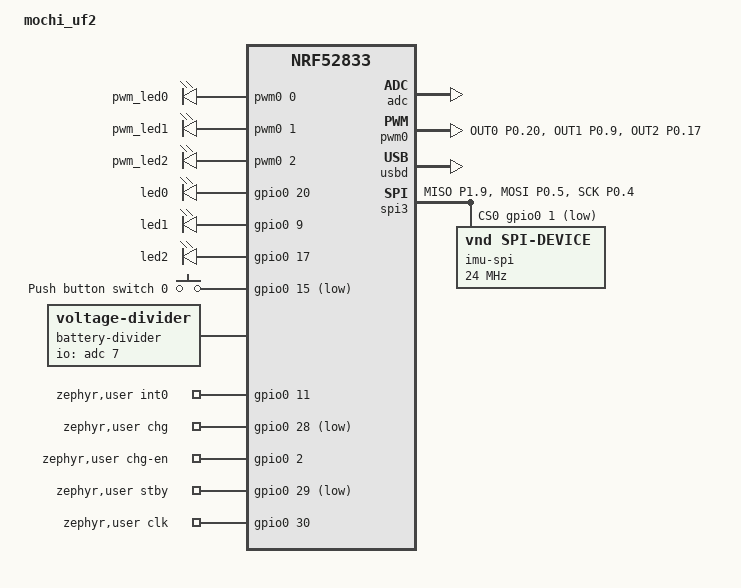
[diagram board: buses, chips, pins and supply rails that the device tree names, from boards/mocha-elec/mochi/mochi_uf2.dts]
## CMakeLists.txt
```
#
# Copyright (c) 2023 Nordic Semiconductor
#
# SPDX-License-Identifier: LicenseRef-Nordic-5-Clause
#
cmake_minimum_required(VERSION 3.20.0)

# Configure VERSION from repository branch and tag
find_package(Git)

if(GIT_EXECUTABLE)
  execute_process(
    COMMAND ${GIT_EXECUTABLE} branch --show-current
    WORKING_DIRECTORY ${CMAKE_SOURCE_DIR}
    OUTPUT_VARIABLE GIT_BRANCH
    )
  execute_process(
    COMMAND ${GIT_EXECUTABLE} describe --dirty --tags --long --match [0-9]*.[0-9]*.[0-9]*
    WORKING_DIRECTORY ${CMAKE_SOURCE_DIR}
    OUTPUT_VARIABLE GIT_VERSION
    )
endif()

if(GIT_BRANCH STREQUAL "")
  set(GIT_BRANCH unknown)
  message(WARNING "Unknown Git Branch")
endif()

if(GIT_VERSION STREQUAL "")
  set(GIT_VERSION 0.0.0-0)
  message(WARNING "Unknown Tag/Version")
endif()

string(STRIP ${GIT_BRANCH} GIT_BRANCH)
string(STRIP ${GIT_VERSION} GIT_VERSION)
string(REPLACE "-" ";" GIT_VERSION ${GIT_VERSION})
list(GET GIT_VERSION 0 GIT_RELEASE)
list(GET GIT_VERSION 1 GIT_TWEAK)
string(REPLACE "v" "" GIT_RELEASE ${GIT_RELEASE})
string(REPLACE "." ";" GIT_RELEASE ${GIT_RELEASE})
list(GET GIT_RELEASE 0 GIT_MAJOR)
list(GET GIT_RELEASE 1 GIT_MINOR)
list(GET GIT_RELEASE 2 GIT_PATCH)

configure_file(${CMAKE_SOURCE_DIR}/VERSION_SRC ${CMAKE_SOURCE_DIR}/VERSION @ONLY)

# Zephyr
find_package(Zephyr REQUIRED HINTS $ENV{ZEPHYR_BASE})
project(NONE)

# NORDIC SDK APP START
FILE(GLOB_RECURSE app_sources src/*.c)
target_sources(app PRIVATE ${app_sources})

# NORDIC SDK APP END

FILE(GLOB_RECURSE files vqf-c/src/*.c)
target_sources(app PRIVATE ${files})

target_include_directories(app PRIVATE src)
target_include_directories(app PRIVATE vqf-c/src)

# Force recompile for updated build timestamp
add_custom_target(touch_util_h ALL
    COMMAND ${CMAKE_COMMAND} -E touch ${CMAKE_SOURCE_DIR}/src/build_defines.h
)
```

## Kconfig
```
#
# Copyright (c) 2023 Nordic Semiconductor
#
# SPDX-License-Identifier: LicenseRef-Nordic-5-Clause
#

config USE_SLIMENRF_CONSOLE
    bool "Use basic console"
    default y
    help
        Use basic console for commands.

config BATTERY_CHARGER_HAS_NTC
    bool "Battery thermistor"
    help
      Flag for battery NTC thermistor availability.

choice
    prompt "Battery voltage mapping"
    default BATTERY_NO_MAPPING

config BATTERY_USE_REG_BUCK_MAPPING
    bool "Use buck regulator mapping (3.7V battery, DCDC)"
    help
      Use a constant power mapping for battery voltage.
      Preffered for systems with a buck regulator.
      Measured at a system voltage of 3.0V.

config BATTERY_USE_REG_LDO_MAPPING
    bool "Use LDO linear regulator mapping (3.7V battery, LDO)"
    help
      Use a constant current mapping for battery voltage.
      Preferred for systems with a linear regulator.

config BATTERY_NO_MAPPING
    bool "Disable battery voltage mapping"
    help
      Always map to 100% battery. Disables battery monitoring.

endchoice

config BATTERY_LOW_RUNTIME_THRESHOLD
    int "Low battery runtime threshold (ms)"
    default 10800000
    help
      Trigger low battery when estimated runtime falls below threshold.
      If estimated runtime is not available, low battery will trigger under 10% estimated state of charge.

choice
    prompt "Status LED color mapping"
    default LED_TRI_COLOR

config LED_RGB_COLOR
    bool "Use RGB color mapping"
    help
        Use RGB or RG color mapping for LED status if available.

config LED_TRI_COLOR
    bool "Use default color mapping"
    help
        Use the default color mapping for LED status.

endchoice

menu "Status LED default status color"
    depends on LED_RGB_COLOR

config LED_DEFAULT_COLOR_R
    int "Red value"
    range 0 10000
    default 4000
    depends on LED_RGB_COLOR
    help
        Red color for default status.
        Valid range is 0 to 10000.

config LED_DEFAULT_COLOR_G
    int "Green value"
    range 0 10000
    default 6000
    depends on LED_RGB_COLOR
    help
        Green color for default status.
        Valid range is 0 to 10000.

config LED_DEFAULT_COLOR_B
    int "Blue value"
    range 0 10000
    default 0
    depends on LED_RGB_COLOR
    help
        Blue color for default status.
        Valid range is 0 to 10000.

endmenu

config USER_EXTRA_ACTIONS
    bool "Multiple press actions"
    help
        Allow user to use multiple presses to calibrate, pair, or enter DFU.
        By default, pairing is available when holding down sw0 for 5 seconds.
        By default, DFU is available when holding down sw0 and plugging in a USB cable.

config IGNORE_RESET
    bool "Ignore reset"
    default y
    help
        If sw0 is available, don't perform any extra actions on reset.

config USER_SHUTDOWN
    bool "User shutdown support"
    default y
    help
        Allow user to use reset or sw0 to shutdown.

config USE_IMU_WAKE_UP
    bool "IMU wake up support"
    default y
    help
        Use IMU wake up state if IMU wake up is present.

config DELAY_SLEEP_ON_STATUS
    bool "Delay IMU wake up mode on status flags"
    default y
    depends on USE_IMU_WAKE_UP
    help
        Delay IMU wake up state if there is an active status flag or in pairing mode.

config WOM_USE_DCDC
    bool "Use DCDC in IMU wake up mode"
    depends on USE_IMU_WAKE_UP
    help
        Use DCDC instead of LDO in IMU wake up state if it is more efficient.

config CONNECTION_TIMEOUT_DELAY
    int "Connection timeout delay (ms)"
    default 300000
    depends on USER_SHUTDOWN
    help
        Connection timeout duration when receiver is not detected.

choice
    prompt "Sensor rotation"
    default SENSOR_ROTATION_90

config SENSOR_ROTATION_0
    bool "0 degrees"

config SENSOR_ROTATION_90
    bool "90 degrees"

config SENSOR_ROTATION_180
    bool "180 degrees"

config SENSOR_ROTATION_270
    bool "270 degrees"

config SENSOR_ROTATION_0_FLIPPED
    bool "0 degrees flipped"

config SENSOR_ROTATION_90_FLIPPED
    bool "90 degrees flipped"

config SENSOR_ROTATION_180_FLIPPED
    bool "180 degrees flipped"

config SENSOR_ROTATION_270_FLIPPED
    bool "270 degrees flipped"

endchoice

menu "Sensor power saving"

config SENSOR_LP_TIMEOUT
    int "Sensor low power delay (ms)"
    default 500
    help
        Low power timeout during no motion.

config SENSOR_USE_LOW_POWER_2
    bool "Use additional low power modes"
    help
        Use a higher latency sensor mode during no motion.

config USE_IMU_TIMEOUT
    bool "Use IMU wake up state"
    default y
    depends on USE_IMU_WAKE_UP
    help
        Use IMU wake up state during no motion.

config IMU_TIMEOUT_RAMP_MIN
    int "Sensor timeout minimum delay (ms)"
    default 5000
    depends on USE_IMU_TIMEOUT || SENSOR_USE_LOW_POWER_2
    help
        Minimum timeout during no motion. Initial period on wake up.

config IMU_TIMEOUT_RAMP_MAX
    int "Sensor timeout maximum delay (ms)"
    default 15000
    depends on USE_IMU_TIMEOUT || SENSOR_USE_LOW_POWER_2
    help
        Maximum timeout during no motion.

config USE_ACTIVE_TIMEOUT
    bool "Use activity timeout"
    default y
    depends on USE_IMU_WAKE_UP || USER_SHUTDOWN
    help
        Delay IMU wake up state or user shutdown during activity.

choice
    prompt "Activity timeout mode"
    default SLEEP_ON_ACTIVE_TIMEOUT
    depends on USE_ACTIVE_TIMEOUT

config SLEEP_ON_ACTIVE_TIMEOUT
    bool "IMU wake up"
    depends on USE_IMU_WAKE_UP
    help
        Use IMU wake up state when activity timeout elapses.

config SHUTDOWN_ON_ACTIVE_TIMEOUT
    bool "User shutdown"
    depends on USER_SHUTDOWN
    help
        Use user shutdown when activity timeout elapses.

endchoice

config ACTIVE_TIMEOUT_THRESHOLD
    int "Activity timeout threshold (ms)"
    default 15000
    depends on USE_ACTIVE_TIMEOUT
    help
        Trigger activity timeout after a certain threshold of activity.

config ACTIVE_TIMEOUT_DELAY
    int "Activity timeout delay (ms)"
    default 900000
    depends on USE_ACTIVE_TIMEOUT
    help
        Activity timeout duration when triggered.

endmenu

config SENSOR_ACCEL_ODR
    int "Accelerometer output data rate (Hz)"
    default 100
    help
        Requested accelerometer output data rate. Actual rate will be raised to the nearest supported rate.
        A higher rate will increase the time to read and process sensor data.

config SENSOR_GYRO_ODR
    int "Gyrometer output data rate (Hz)"
    default 200
    help
        Requested gyrometer output data rate. Actual rate will be raised to the nearest supported rate.
        A higher rate will increase the time to read and process sensor data.
        A lower rate is recommended for IMUs with poor gyrometer rate noise density. (e.g. BMI270, LSM6DS3TR-C)

config SENSOR_ACCEL_FS
    int "Accelerometer full scale (g)"
    default 4
    help
        Requested accelerometer full scale. Actual scale will be raised to the nearest supported scale.
        A lower scale may improve noise performance, but is more likely to saturate.

config SENSOR_GYRO_FS
    int "Gyrometer full scale (dps)"
    default 1000
    help
        Requested gyrometer full scale. Actual scale will be raised to the nearest supported scale.
        A lower scale may improve noise performance, but is more likely to saturate.

config SENSOR_USE_MAG
    bool "Magnetometer support"
    default y
    help
        Use magnetometer if it is present.

config USE_SENSOR_CLOCK
    bool "Use external IMU clock"
    default y
    help
        Use external IMU clock if it is present.

choice
    prompt "Sensor fusion"
    default SENSOR_USE_VQF
    help
        Select the sensor fusion method.

config SENSOR_USE_VQF
    bool "Use VQF"
    help
        Use VQF for sensor fusion.
        Based on Kalman filter.

endchoice

config SENSOR_USE_6_SIDE_CALIBRATION
    bool "Use 6-side calibration"
    default y
    depends on USE_SLIMENRF_CONSOLE
    help
        Use 6-side calibration for accelerometer.
        Calibration can be completed through the basic console.

config RADIO_TX_POWER
    int "Radio output power (dBm)"
    default 8
    help
        Radio output power level.
        A lower value may reduce power consumption.

config CONNECTION_OVER_HID
    bool "Use HID for data output"
    help
        Use HID if available.
        Otherwise, use ESB only.

source "Kconfig.zephyr"
```

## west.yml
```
manifest:
  version: "1.2"
  projects:

    # nRF-Connect SDK
    - name: sdk-nrf
      path: nrf
      url: https://github.com/SlimeVR/sdk-nrf.git
      revision: v3.2-jiting-test2
      import: true
```

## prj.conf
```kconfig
#CONFIG_NCS_SAMPLES_DEFAULTS
CONFIG_ASSERT=y
CONFIG_ASSERT_NO_COND_INFO=y
CONFIG_ASSERT_NO_MSG_INFO=y
CONFIG_RESET_ON_FATAL_ERROR=y

CONFIG_NCS_APPLICATION_BOOT_BANNER_STRING="SlimeVR-Tracker-nRF"
#CONFIG_NCS_BOOT_BANNER=n
CONFIG_BOOT_BANNER=n

CONFIG_ESB=y
#need to enable for nRF54L
#CONFIG_NRFX_DPPI10=y

CONFIG_ADC=y
CONFIG_ADC_NRFX_SAADC=y
CONFIG_FPU=y
CONFIG_I2C=y
CONFIG_SPI=y
CONFIG_PINCTRL=y
CONFIG_SENSOR=y

CONFIG_CMSIS_DSP=y
CONFIG_CMSIS_DSP_BASICMATH=y
CONFIG_CMSIS_DSP_CONTROLLER=y
CONFIG_CMSIS_DSP_FASTMATH=y
CONFIG_CMSIS_DSP_SUPPORT=y

CONFIG_NVS=y
CONFIG_NVS_LOOKUP_CACHE=y
CONFIG_NVS_INIT_BAD_MEMORY_REGION=y

CONFIG_POWEROFF=y
CONFIG_REBOOT=y

CONFIG_FLASH=y
CONFIG_FLASH_PAGE_LAYOUT=y
CONFIG_FLASH_MAP=y

CONFIG_SETTINGS=y
CONFIG_SETTINGS_RUNTIME=y
CONFIG_SETTINGS_NONE=y

CONFIG_MPU_ALLOW_FLASH_WRITE=y

CONFIG_RETAINED_MEM=y

CONFIG_USE_SEGGER_RTT=y
CONFIG_LOG=y
#CONFIG_PRINTK=y
CONFIG_LOG_MODE_DEFERRED=y
CONFIG_LOG_SPEED=y
CONFIG_LOG_BACKEND_RTT=y
CONFIG_CBPRINTF_FP_SUPPORT=y
CONFIG_ADC_LOG_LEVEL_OFF=y
CONFIG_LOG_FUNC_NAME_PREFIX_ERR=y
CONFIG_LOG_BUFFER_SIZE=1536
CONFIG_LOG_BACKEND_UART_AUTOSTART=n
CONFIG_LOG_PROCESS_THREAD_SLEEP_MS=50
CONFIG_LOG_PROCESS_THREAD_STACK_SIZE=1024

CONFIG_PWM=y
CONFIG_GPIO=y

CONFIG_CRC=y

CONFIG_NEWLIB_LIBC=y
#deprecated?
#CONFIG_NRFX_TIMER1=y

#speed up boot? (use internal rc oscillator)
CONFIG_CLOCK_CONTROL_NRF_K32SRC_RC=y
CONFIG_CLOCK_CONTROL_NRF_K32SRC_RC_CALIBRATION=n
#speed up boot? (synthesize lf clock)
#CONFIG_CLOCK_CONTROL_NRF_K32SRC_SYNTH=y

# dont need it
CONFIG_CRYPTO=n

# set timeout for 25ms, sufficient for ~1000 bytes
CONFIG_I2C_NRFX_TRANSFER_TIMEOUT=25

CONFIG_USB_DEVICE_HID=y
CONFIG_USB_DEVICE_VID=0x1209
CONFIG_USB_DEVICE_PID=0x7692
CONFIG_USB_HID_BOOT_PROTOCOL=y
CONFIG_USB_DEVICE_INITIALIZE_AT_BOOT=n
CONFIG_USB_CDC_ACM=y
CONFIG_UART_INTERRUPT_DRIVEN=y
CONFIG_USB_WORKQUEUE_STACK_SIZE=512

CONFIG_SERIAL=y
CONFIG_CONSOLE=y
CONFIG_RTT_CONSOLE=y
CONFIG_UART_CONSOLE=y
CONFIG_UART_LINE_CTRL=y
# fit "write all <base64:173>"
CONFIG_CONSOLE_INPUT_MAX_LINE_LEN=256

CONFIG_LOG=y
CONFIG_USB_DRIVER_LOG_LEVEL_ERR=y
CONFIG_USB_DEVICE_LOG_LEVEL_ERR=y
CONFIG_USB_CDC_ACM_LOG_LEVEL_OFF=y

CONFIG_LOG_BACKEND_UART=y

CONFIG_CONSOLE_SUBSYS=y
CONFIG_CONSOLE_GETLINE=y

CONFIG_NVS_LOG_LEVEL_WRN=y
CONFIG_USB_HID_LOG_LEVEL_WRN=y

CONFIG_USB_DEVICE_SOF=y
CONFIG_USB_HID_REPORTS=256

#CONFIG_USB_HID_POLL_INTERVAL_MS=1
CONFIG_USB_HID_POLL_INTERVAL_MS=0
CONFIG_HID_INTERRUPT_EP_MPS=64
#CONFIG_ENABLE_HID_INT_OUT_EP=y

CONFIG_SYSTEM_WORKQUEUE_STACK_SIZE=256
CONFIG_MAIN_STACK_SIZE=512
#crashing on nrf54l at 512

CONFIG_THREAD_NAME=y

CONFIG_HEAP_MEM_POOL_SIZE=2048
CONFIG_ISR_STACK_SIZE=1024

CONFIG_PM_DEVICE=y

CONFIG_BASE64=y

#CONFIG_THREAD_ANALYZER=y
#CONFIG_THREAD_ANALYZER_AUTO=y
#CONFIG_THREAD_ANALYZER_AUTO_INTERVAL=5

#about 20KB saved
#CONFIG_LTO=y
#CONFIG_ISR_TABLES_LOCAL_DECLARATION=y
```

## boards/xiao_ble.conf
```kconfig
CONFIG_USB_DEVICE_STACK=y
CONFIG_USB_CDC_ACM=y
CONFIG_USB_DEVICE_LEGACY=y
CONFIG_USBD=n

CONFIG_USB_DEVICE_MANUFACTURER="Seeed Studio"
CONFIG_USB_DEVICE_PRODUCT="SlimeNRF Tracker XIAO"

CONFIG_BATTERY_USE_REG_LDO_MAPPING=y
CONFIG_LED_RGB_COLOR=y
```

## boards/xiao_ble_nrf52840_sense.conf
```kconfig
CONFIG_USB_DEVICE_STACK=y
CONFIG_USB_CDC_ACM=y
CONFIG_USBD_DEVICE_STACK=n
CONFIG_USBD_CDC_ACM=n

CONFIG_USB_DEVICE_MANUFACTURER="Seeed Studio"
CONFIG_USB_DEVICE_PRODUCT="SlimeNRF Tracker XIAO Sense"

CONFIG_BATTERY_USE_REG_LDO_MAPPING=y
CONFIG_LED_RGB_COLOR=y
```

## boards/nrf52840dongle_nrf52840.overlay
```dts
&red_pwm_led {
	pwms = <&pwm0 0 PWM_MSEC(1) PWM_POLARITY_INVERTED>;
};
&green_pwm_led {
	pwms = <&pwm0 1 PWM_MSEC(1) PWM_POLARITY_INVERTED>;
};
&blue_pwm_led {
	pwms = <&pwm0 2 PWM_MSEC(1) PWM_POLARITY_INVERTED>;
};

/ {
	battery-divider {
		compatible = "voltage-divider";
		status = "okay";
		io-channels = <&adc 12>; // Measure VDDHDIV5
		output-ohms = <1>;
		full-ohms = <2>;
	};
};

&i2c0 {
	compatible = "nordic,nrf-twim";
	zephyr,concat-buf-size = <2048>;
	zephyr,flash-buf-max-size = <2048>;
	clock-frequency = <I2C_BITRATE_FAST>;

	imu: imu@0 { // any address out of range (00, 7f, etc. will search all addresses and stored address first if available, specify an address here to search first otherwise
		compatible = "i2c-device";
		label = "imu";
		reg = <0>;
	};

	mag: mag@0 {
		compatible = "i2c-device";
		label = "mag";
		reg = <0>;
	};

};

arduino_spi: &spi3 {
	imu_spi: imu_spi@0 {
		compatible = "vnd,spi-device";
		spi-max-frequency = <DT_FREQ_M(32)>;
		label = "imu-spi";
		reg = <0>;
	};
};
```

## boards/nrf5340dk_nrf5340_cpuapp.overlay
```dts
&pwm0_default {
	group1 {
		psels = <NRF_PSEL(PWM_OUT0, 0, 13)>,
			<NRF_PSEL(PWM_OUT1, 0, 14)>,
			<NRF_PSEL(PWM_OUT2, 0, 15)>;
		nordic,drive-mode = <NRF_DRIVE_D0S1>;
		nordic,invert;
	};
};

&pwm0_sleep {
	group1 {
		psels = <NRF_PSEL(PWM_OUT0, 0, 13)>,
			<NRF_PSEL(PWM_OUT1, 0, 14)>,
			<NRF_PSEL(PWM_OUT2, 0, 15)>;
	};
};

/ {
	chosen {
		zephyr,console = &cdc_acm_uart0;
		zephyr,shell-uart = &cdc_acm_uart0;
	};

	pwmleds {
		pwm_led1: pwm_led_1 {
			pwms = <&pwm0 1 PWM_MSEC(20) PWM_POLARITY_INVERTED>;
		};
		pwm_led2: pwm_led_2 {
			pwms = <&pwm0 2 PWM_MSEC(20) PWM_POLARITY_INVERTED>;
		};
	};

	battery-divider {
		compatible = "voltage-divider";
		status = "okay";
		io-channels = <&adc 12>; // Measure VDDHDIV5
		output-ohms = <1>;
		full-ohms = <2>;
	};

	aliases {
		pwm-led1 = &pwm_led1;
		pwm-led2 = &pwm_led2;
	};
};

&i2c0 {
	compatible = "nordic,nrf-twim";
	zephyr,concat-buf-size = <2048>;
	zephyr,flash-buf-max-size = <2048>;
	clock-frequency = <I2C_BITRATE_FAST>;

	imu: imu@0 { // any address out of range (00, 7f, etc. will search all addresses and stored address first if available, specify an address here to search first otherwise
		compatible = "i2c-device";
		label = "imu";
		reg = <0>;
	};

	mag: mag@0 {
		compatible = "i2c-device";
		label = "mag";
		reg = <0>;
	};

};

arduino_spi: &spi3 {
	imu_spi: imu_spi@0 {
		compatible = "vnd,spi-device";
		spi-max-frequency = <DT_FREQ_M(32)>;
		label = "imu-spi";
		reg = <0>;
	};
};

zephyr_udc0: &usbd {
	cdc_acm_uart0: cdc_acm_uart0 {
		compatible = "zephyr,cdc-acm-uart";
	};
};
```

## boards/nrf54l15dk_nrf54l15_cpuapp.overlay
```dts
&pinctrl {
	i2c0_default: i2c0_default {
		group1 {
			psels = <NRF_PSEL(TWIM_SDA, 1, 5)>,
				<NRF_PSEL(TWIM_SCL, 1, 7)>;
		};
	};

	i2c0_sleep: i2c0_sleep {
		group1 {
			psels = <NRF_PSEL(TWIM_SDA, 1, 5)>,
				<NRF_PSEL(TWIM_SCL, 1, 7)>;
			low-power-enable;
		};
	};

};

&pwm20_default {
	group1 {
		psels = <NRF_PSEL(PWM_OUT0, 1, 10)>,
			<NRF_PSEL(PWM_OUT1, 1, 14)>;
	};
};

&pwm20_sleep {
	group1 {
		psels = <NRF_PSEL(PWM_OUT0, 1, 10)>,
			<NRF_PSEL(PWM_OUT1, 1, 14)>;
	};
};

/ {
	pwmleds {
		pwm_led0: pwm_led_0 {
			pwms = <&pwm20 1 PWM_MSEC(20) PWM_POLARITY_NORMAL>;
		};
	};

	battery-divider {
		compatible = "voltage-divider";
		status = "okay";
		io-channels = <&adc 12>; // Measure VDDHDIV5
		output-ohms = <1>;
		full-ohms = <2>;
	};
};

&i2c20 {
	compatible = "nordic,nrf-twim";
	status = "okay";
	zephyr,concat-buf-size = <2048>;
	zephyr,flash-buf-max-size = <2048>;
	clock-frequency = <I2C_BITRATE_FAST>;
	pinctrl-0 = <&i2c0_default>;
	pinctrl-1 = <&i2c0_sleep>;
	pinctrl-names = "default", "sleep";

	imu: imu@0 { // any address out of range (00, 7f, etc. will search all addresses and stored address first if available, specify an address here to search first otherwise
		compatible = "i2c-device";
		label = "imu";
		reg = <0>;
	};

	mag: mag@0 {
		compatible = "i2c-device";
		label = "mag";
		reg = <0>;
	};

};

&uart20 {
	status = "disabled";
};
```

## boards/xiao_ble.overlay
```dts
&i2c1_default {
	group1 {
		bias-disable;
	};
};

&i2c1_sleep {
	group1 {
		bias-disable;
	};
};

&pwm0_default {
	group1 {
		psels = <NRF_PSEL(PWM_OUT0, 0, 26)>,
			<NRF_PSEL(PWM_OUT1, 0, 30)>,
			<NRF_PSEL(PWM_OUT2, 0, 6)>;
		nordic,drive-mode = <NRF_DRIVE_D0S1>;
		nordic,invert;
	};
};

&pwm0_sleep {
	group1 {
		psels = <NRF_PSEL(PWM_OUT0, 0, 26)>,
			<NRF_PSEL(PWM_OUT1, 0, 30)>,
			<NRF_PSEL(PWM_OUT2, 0, 6)>;
	};
};

/ {
	pwmleds {
		pwm_led0: pwm_led_0 {
			pwms = <&pwm0 0 PWM_MSEC(1) PWM_POLARITY_INVERTED>;
		};
		pwm_led1: pwm_led_1 {
			pwms = <&pwm0 1 PWM_MSEC(1) PWM_POLARITY_INVERTED>;
		};
		pwm_led2: pwm_led_2 {
			pwms = <&pwm0 2 PWM_MSEC(1) PWM_POLARITY_INVERTED>;
		};
	};

	buttons {
		compatible = "gpio-keys";
		button0: button_0 {
			gpios = <&gpio0 2 (GPIO_PULL_UP | GPIO_ACTIVE_LOW)>;
			label = "Push button switch 0";
		};
	};

	aliases {
		// sw0 = &button0; // Uncomment to Enable SW0
		pwm-led1 = &pwm_led1;
		pwm-led2 = &pwm_led2;
	};

	battery-divider {
        compatible = "voltage-divider";
        status = "okay";
        io-channels = <&adc 7>;
        output-ohms = <510000>;
        full-ohms = <(1000000+510000)>;
        power-gpios = <&gpio0 14 (GPIO_OPEN_DRAIN|GPIO_ACTIVE_LOW)>;
	};

	zephyr,user {
		int0-gpios = <&gpio0 3 0>;
		led-gpios = <&gpio0 17 (GPIO_OPEN_DRAIN|GPIO_ACTIVE_LOW)>;
		// clk-gpios = <&gpio0 28 GPIO_OPEN_DRAIN>; // Uncomment and set to correct pin if using an external clock (crystal oscillator)
	};

};

&usbd {
    idVendor = <0x1209>;
    idProduct = <0x7692>;
};

/delete-node/ &uart0;

&i2c1 {
	compatible = "nordic,nrf-twim";
	zephyr,concat-buf-size = <1023>;
	zephyr,flash-buf-max-size = <1023>;
	clock-frequency = <I2C_BITRATE_FAST>;

	imu: imu@0 { // any address out of range (00, 7f, etc. will search all addresses and stored address first if available, specify an address here to search first otherwise
		compatible = "i2c-device";
		label = "imu";
		reg = <0>;
	};

	mag: mag@0 {
		compatible = "i2c-device";
		label = "mag";
		reg = <0>;
	};

};

/delete-node/ &spi2;
/delete-node/ &qspi;

&spi3 {
	compatible = "nordic,nrf-spim";
	status = "okay";
	max-frequency = <DT_FREQ_M(24)>;
	pinctrl-0 = <&spi2_default>;
	pinctrl-1 = <&spi2_sleep>;
	pinctrl-names = "default", "sleep";
	cs-gpios = <&gpio1 12 GPIO_ACTIVE_LOW>;

	imu_spi: imu_spi@0 {
		compatible = "vnd,spi-device";
		spi-max-frequency = <DT_FREQ_M(24)>;
		label = "imu-spi";
		reg = <0>;
	};
};

&cryptocell {
	status = "disabled";
};

&nfct {
	status = "disabled";
};
```

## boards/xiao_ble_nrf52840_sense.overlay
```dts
&i2c0_default {
	group1 {
		bias-disable;
	};
};

&i2c0_sleep {
	group1 {
		bias-disable;
	};
};

&i2c1_default {
	group1 {
		bias-disable;
	};
};

&i2c1_sleep {
	group1 {
		bias-disable;
	};
};

&pwm0_default {
	group1 {
		psels = <NRF_PSEL(PWM_OUT0, 0, 26)>,
			<NRF_PSEL(PWM_OUT1, 0, 30)>,
			<NRF_PSEL(PWM_OUT2, 0, 6)>;
		nordic,drive-mode = <NRF_DRIVE_D0S1>;
		nordic,invert;
	};
};

&pwm0_sleep {
	group1 {
		psels = <NRF_PSEL(PWM_OUT0, 0, 26)>,
			<NRF_PSEL(PWM_OUT1, 0, 30)>,
			<NRF_PSEL(PWM_OUT2, 0, 6)>;
	};
};

/ {
	pwmleds {
		pwm_led0: pwm_led_0 {
			pwms = <&pwm0 0 PWM_MSEC(1) PWM_POLARITY_INVERTED>;
		};
		pwm_led1: pwm_led_1 {
			pwms = <&pwm0 1 PWM_MSEC(1) PWM_POLARITY_INVERTED>;
		};
		pwm_led2: pwm_led_2 {
			pwms = <&pwm0 2 PWM_MSEC(1) PWM_POLARITY_INVERTED>;
		};
	};

	lsm6ds3tr-c-en {
		startup-delay-us = <0>;
	};

	buttons {
		compatible = "gpio-keys";
		button0: button_0 {
			gpios = <&gpio0 2 (GPIO_PULL_UP | GPIO_ACTIVE_LOW)>;
			label = "Push button switch 0";
		};
	};

	aliases {
		// sw0 = &button0; // Uncomment to Enable SW0
		pwm-led1 = &pwm_led1;
		pwm-led2 = &pwm_led2;
	};

	battery-divider {
        compatible = "voltage-divider";
        status = "okay";
        io-channels = <&adc 7>;
        output-ohms = <510000>;
        full-ohms = <(1000000+510000)>;
        power-gpios = <&gpio0 14 (GPIO_OPEN_DRAIN|GPIO_ACTIVE_LOW)>;
	};

	zephyr,user {
		int0-gpios = <&gpio0 11 0>;
		led-gpios = <&gpio0 17 (GPIO_OPEN_DRAIN|GPIO_ACTIVE_LOW)>;
	};

};

&i2c0 {
	zephyr,concat-buf-size = <2048>;
	zephyr,flash-buf-max-size = <2048>;

	imu: imu@0 { // any address out of range (00, 7f, etc. will search all addresses and stored address first if available, specify an address here to search first otherwise
		compatible = "i2c-device";
		label = "imu";
		reg = <0>;
	};

};

&cryptocell {
	status = "disabled";
};

&nfct {
	status = "disabled";
};

&lsm6ds3tr_c {
	status = "disabled";
	/delete-property/ irq-gpios;
};
```

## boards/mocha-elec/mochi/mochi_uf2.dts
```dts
// Copyright (c) 2024 Nordic Semiconductor ASA
// SPDX-License-Identifier: Apache-2.0

/dts-v1/;
#include <nordic/nrf52833_qiaa.dtsi>

//move to dtsi?
&pinctrl {
	pwm0_default: pwm0_default {
		group1 {
			psels = <NRF_PSEL(PWM_OUT0, 0, 20)>, // Red
				<NRF_PSEL(PWM_OUT1, 0, 9)>, // Green
				<NRF_PSEL(PWM_OUT2, 0, 17)>; // Blue
			nordic,drive-mode = <NRF_DRIVE_D0S1>;
		};
	};

	pwm0_sleep: pwm0_sleep {
		group1 {
			psels = <NRF_PSEL(PWM_OUT0, 0, 20)>, // Red
				<NRF_PSEL(PWM_OUT1, 0, 9)>, // Green
				<NRF_PSEL(PWM_OUT2, 0, 17)>; // Blue
			low-power-enable;
		};
	};

	spi3_default: spi3_default {
		group1 {
			psels = <NRF_PSEL(SPIM_MISO, 1, 9)>,
					<NRF_PSEL(SPIM_MOSI, 0, 5)>,
					<NRF_PSEL(SPIM_SCK, 0, 4)>;
		};
	};

	spi3_sleep: spi3_sleep {
		group1 {
			psels = <NRF_PSEL(SPIM_MISO, 1, 9)>,
					<NRF_PSEL(SPIM_MOSI, 0, 5)>,
					<NRF_PSEL(SPIM_SCK, 0, 4)>;
			low-power-enable;
		};
	};
};
//end

/ {
	model = "mochi_uf2";
	compatible = "mochi_uf2";

	chosen {
		zephyr,sram = &sram0;
		zephyr,flash = &flash0;
		zephyr,console = &cdc_acm_uart0;
		zephyr,shell-uart = &cdc_acm_uart0;
	};

	pwmleds {
		compatible = "pwm-leds";
		pwm_led0: pwm_led_0 {
			pwms = <&pwm0 0 PWM_MSEC(1) PWM_POLARITY_NORMAL>;
		};
		pwm_led1: pwm_led_1 {
			pwms = <&pwm0 1 PWM_MSEC(1) PWM_POLARITY_NORMAL>;
		};
		pwm_led2: pwm_led_2 {
			pwms = <&pwm0 2 PWM_MSEC(1) PWM_POLARITY_NORMAL>;
		};
	};

	leds {
		compatible = "gpio-leds";
		led0: led_0 {
			gpios = <&gpio0 20 GPIO_OPEN_SOURCE>;
		};
		led1: led_1 {
			gpios = <&gpio0 9 GPIO_OPEN_SOURCE>;
		};
		led2: led_2 {
			gpios = <&gpio0 17 GPIO_OPEN_SOURCE>;
		};
	};

	buttons {
		compatible = "gpio-keys";
		button0: button_0 {
			gpios = <&gpio0 15 (GPIO_PULL_UP | GPIO_ACTIVE_LOW)>;
			label = "Push button switch 0";
		};
	};

	aliases {
		sw0 = &button0;
		pwm-led0 = &pwm_led0;
		pwm-led1 = &pwm_led1;
		pwm-led2 = &pwm_led2;
		led0 = &led0;
		led1 = &led1;
		led2 = &led2;
	};

	battery-divider {
		compatible = "voltage-divider";
		status = "okay";
		io-channels = <&adc 7>;
		output-ohms = <3300000>;
		full-ohms = <(5600000+3300000)>;
	};

	zephyr,user {
		int0-gpios = <&gpio0 11 0>;
		chg-gpios = <&gpio0 28 (GPIO_ACTIVE_LOW | GPIO_PULL_UP)>;
		chg-en-gpios = <&gpio0 2 (GPIO_ACTIVE_HIGH | GPIO_PULL_UP)>;
		stby-gpios = <&gpio0 29 (GPIO_ACTIVE_LOW | GPIO_PULL_UP)>;
		clk-gpios = <&gpio0 30 (GPIO_OPEN_DRAIN)>;
	};

};

&reg1 {
	regulator-initial-mode = <NRF5X_REG_MODE_DCDC>;
};

&adc {
	status = "okay";
};

&gpiote {
	status = "okay";
};

&gpio0 {
	status = "okay";
};

&gpio1 {
	status = "okay";
};

&pwm0 {
	status = "okay";
	pinctrl-0 = <&pwm0_default>;
	pinctrl-1 = <&pwm0_sleep>;
	pinctrl-names = "default", "sleep";
};

zephyr_udc0: &usbd {
	compatible = "nordic,nrf-usbd";
	status = "okay";
	cdc_acm_uart0: cdc_acm_uart0 {
		compatible = "zephyr,cdc-acm-uart";
	};
};

&nfct {
	status = "disabled";
};

&spi3 {
	compatible = "nordic,nrf-spim";
	status = "okay";
	max-frequency = <DT_FREQ_M(24)>;
	pinctrl-0 = <&spi3_default>;
	pinctrl-1 = <&spi3_sleep>;
	pinctrl-names = "default", "sleep";
	cs-gpios = <&gpio0 1 GPIO_ACTIVE_LOW>;

	imu_spi: imu_spi@0 {
		compatible = "vnd,spi-device";
		spi-max-frequency = <DT_FREQ_M(24)>;
		label = "imu-spi";
		reg = <0>;
	};
};
```

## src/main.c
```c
/*
	SlimeVR Code is placed under the MIT license
	Copyright (c) 2025 SlimeVR Contributors

	Permission is hereby granted, free of charge, to any person obtaining a copy
	of this software and associated documentation files (the "Software"), to deal
	in the Software without restriction, including without limitation the rights
	to use, copy, modify, merge, publish, distribute, sublicense, and/or sell
	copies of the Software, and to permit persons to whom the Software is
	furnished to do so, subject to the following conditions:

	The above copyright notice and this permission notice shall be included in
	all copies or substantial portions of the Software.

	THE SOFTWARE IS PROVIDED "AS IS", WITHOUT WARRANTY OF ANY KIND, EXPRESS OR
	IMPLIED, INCLUDING BUT NOT LIMITED TO THE WARRANTIES OF MERCHANTABILITY,
	FITNESS FOR A PARTICULAR PURPOSE AND NONINFRINGEMENT. IN NO EVENT SHALL THE
	AUTHORS OR COPYRIGHT HOLDERS BE LIABLE FOR ANY CLAIM, DAMAGES OR OTHER
	LIABILITY, WHETHER IN AN ACTION OF CONTRACT, TORT OR OTHERWISE, ARISING FROM,
	OUT OF OR IN CONNECTION WITH THE SOFTWARE OR THE USE OR OTHER DEALINGS IN
	THE SOFTWARE.
*/
#include "globals.h"
#include "system/system.h"
//#include "timer.h"
#include "connection/esb.h"
#include "sensor/sensor.h"

#include <zephyr/sys/reboot.h>

#define DFU_DBL_RESET_MEM 0x20007F7C
#define DFU_DBL_RESET_APP 0x4ee5677e

static uint32_t *dbl_reset_mem __attribute__((unused)) = ((uint32_t *)DFU_DBL_RESET_MEM); // retained

LOG_MODULE_REGISTER(main, LOG_LEVEL_INF);

#if DT_NODE_HAS_PROP(DT_ALIAS(sw0), gpios)
#define BUTTON_EXISTS true
#endif

#include <zephyr/drivers/gpio.h>

#define ZEPHYR_USER_NODE DT_PATH(zephyr_user)

#if DT_NODE_HAS_PROP(ZEPHYR_USER_NODE, pwr_gpios)
static const struct gpio_dt_spec pwr = GPIO_DT_SPEC_GET(ZEPHYR_USER_NODE, pwr_gpios);
#endif

#if DT_NODE_HAS_PROP(ZEPHYR_USER_NODE, gnd_gpios)
static const struct gpio_dt_spec gnd = GPIO_DT_SPEC_GET(ZEPHYR_USER_NODE, gnd_gpios);
#endif

#define DFU_EXISTS CONFIG_BUILD_OUTPUT_UF2 || CONFIG_BOARD_HAS_NRF5_BOOTLOADER
#define ADAFRUIT_BOOTLOADER CONFIG_BUILD_OUTPUT_UF2

int main(void)
{
#if DT_NODE_HAS_PROP(ZEPHYR_USER_NODE, gnd_gpios)
    gpio_pin_configure_dt(&gnd, GPIO_OUTPUT_ACTIVE);
    gpio_pin_set_dt(&gnd, 0);
#endif

#if DT_NODE_HAS_PROP(ZEPHYR_USER_NODE, pwr_gpios)
    gpio_pin_configure_dt(&pwr, GPIO_OUTPUT_ACTIVE);
    gpio_pin_set_dt(&pwr, 1);
#endif

#ifdef NRF_RESET
	bool reset_pin_reset = NRF_RESET->RESETREAS & RESET_RESETREAS_RESETPIN_Msk;
	NRF_RESET->RESETREAS = NRF_RESET->RESETREAS; // Clear RESETREAS
#else
	bool reset_pin_reset = NRF_POWER->RESETREAS & POWER_RESETREAS_RESETPIN_Msk;
	NRF_POWER->RESETREAS = NRF_POWER->RESETREAS; // Clear RESETREAS
#endif

#if BUTTON_EXISTS
	if (CONFIG_0_SETTINGS_READ(CONFIG_0_IGNORE_RESET))
		reset_pin_reset = false;
#endif

	set_led(SYS_LED_PATTERN_ONESHOT_WAKE, SYS_LED_PRIORITY_BOOT); // Boot LED

	uint8_t reboot_counter = reboot_counter_read();
	bool booting_from_shutdown = !reboot_counter && (reset_pin_reset || button_read()); // 0 means from user shutdown or failed ram validation

	/* if button is not held after booting from shutdown, power off again
	 * if button press is normal, continue boot
	 * if button is held for 1 second, reset pairing and continue boot
	 * if button is held but tracker was waking (not booting from shutdown) ignore the press // TODO: should it pass on to regular handler (e.g. intent to shutdown)
	 */

	if (booting_from_shutdown)
	{
		set_led(SYS_LED_PATTERN_ONESHOT_POWERON, SYS_LED_PRIORITY_BOOT);
		if (button_read())
		{
			set_status(SYS_STATUS_BUTTON_PRESSED, true); // prevent going to sleep while still holding
			int64_t start_time = k_uptime_get();
			while (button_read())
			{
				if (k_uptime_get() - start_time > 1000)
				{
					LOG_INF("Pairing requested");
					esb_reset_pair();
					break;
				}
				k_msleep(1);
			}
			if (CONFIG_0_SETTINGS_READ(CONFIG_0_USER_SHUTDOWN) && k_uptime_get() - start_time < 50) // debounce // TODO: does sense pin stay configured?
				sys_request_system_silent_off(false);
			set_status(SYS_STATUS_BUTTON_PRESSED, false);
		}
	}

	bool docked = dock_read();

	uint8_t reset_mode = -1;

	if (reboot_counter == 0)
		reboot_counter = 100;
	else if (reboot_counter > 200)
		reboot_counter = 200; // How did you get here
	reset_mode = reboot_counter - 100;
	if (reset_pin_reset && !docked) // Count pin resets while not docked
	{
		reboot_counter++;
		reboot_counter_write(reboot_counter);
		LOG_INF("Reset count: %u", reboot_counter);
#if ADAFRUIT_BOOTLOADER
#if BUTTON_EXISTS
		if (!CONFIG_0_SETTINGS_READ(CONFIG_0_IGNORE_RESET))
			(*dbl_reset_mem) = DFU_DBL_RESET_APP; // Using Adafruit bootloader, skip DFU if reset button could be used
#else
		(*dbl_reset_mem) = DFU_DBL_RESET_APP; // Using Adafruit bootloader, skip DFU since reset button is used
#endif
#endif
		k_msleep(1000); // Wait before clearing counter and continuing
	}
	reboot_counter_write(100);
	if (!reset_pin_reset && reset_mode == 0) // Only need to check once, if the button is pressed again an interrupt is triggered from before
		reset_mode = -1; // Cancel reset_mode (shutdown)

	if (CONFIG_0_SETTINGS_READ(CONFIG_0_USER_SHUTDOWN))
	{
		bool charging = chg_read();
		bool charged = stby_read();
		bool plugged = vin_read();

		if (reset_mode == 0 && !booting_from_shutdown && !charging && !charged && !plugged) // Reset mode user shutdown, only if unplugged and undocked
			sys_user_shutdown();
	}

	sys_reset_mode(reset_mode);

	return 0;
}
```

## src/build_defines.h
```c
/*
	SlimeVR Code is placed under the MIT license
	Copyright (c) 2025 SlimeVR Contributors

	Permission is hereby granted, free of charge, to any person obtaining a copy
	of this software and associated documentation files (the "Software"), to deal
	in the Software without restriction, including without limitation the rights
	to use, copy, modify, merge, publish, distribute, sublicense, and/or sell
	copies of the Software, and to permit persons to whom the Software is
	furnished to do so, subject to the following conditions:

	The above copyright notice and this permission notice shall be included in
	all copies or substantial portions of the Software.

	THE SOFTWARE IS PROVIDED "AS IS", WITHOUT WARRANTY OF ANY KIND, EXPRESS OR
	IMPLIED, INCLUDING BUT NOT LIMITED TO THE WARRANTIES OF MERCHANTABILITY,
	FITNESS FOR A PARTICULAR PURPOSE AND NONINFRINGEMENT. IN NO EVENT SHALL THE
	AUTHORS OR COPYRIGHT HOLDERS BE LIABLE FOR ANY CLAIM, DAMAGES OR OTHER
	LIABILITY, WHETHER IN AN ACTION OF CONTRACT, TORT OR OTHERWISE, ARISING FROM,
	OUT OF OR IN CONNECTION WITH THE SOFTWARE OR THE USE OR OTHER DEALINGS IN
	THE SOFTWARE.
*/
#include "sensor/sensors_enum.h"
#include "system/status.h"

#include "app_version.h"

#ifdef CONFIG_NCS_APPLICATION_BOOT_BANNER_STRING
#define FW_NAME CONFIG_NCS_APPLICATION_BOOT_BANNER_STRING
#else
#define FW_NAME "SlimeNRF Tracker"
#endif
#define FW_VERSION_MAJOR APP_VERSION_MAJOR
#define FW_VERSION_MINOR APP_VERSION_MINOR
#define FW_VERSION_PATCH APP_PATCHLEVEL

static uint8_t get_server_constant_imu_id(int id) __attribute__((unused));
static uint8_t get_server_constant_mag_id(int id) __attribute__((unused));
static uint8_t get_server_constant_tracker_status(int status) __attribute__((unused));

// constants from server, should include BoardType, MCUType, IMUType, MagType (not yet)
// https://github.com/SlimeVR/SlimeVR-Server/blob/main/server/core/src/main/java/dev/slimevr/tracking/trackers/udp/FirmwareConstants.kt
#define SVR_IMU_UNKNOWN 0
#define SVR_IMU_MPU9250 1
#define SVR_IMU_MPU6500 2
#define SVR_IMU_BNO080 3
#define SVR_IMU_BNO085 4
#define SVR_IMU_BNO055 5
#define SVR_IMU_MPU6050 6
#define SVR_IMU_BNO086 7
#define SVR_IMU_BMI160 8
#define SVR_IMU_ICM20948 9
#define SVR_IMU_ICM42688 10
#define SVR_IMU_BMI270 11
#define SVR_IMU_LSM6DS3TRC 12
#define SVR_IMU_LSM6DSV 13
#define SVR_IMU_LSM6DSO 14
#define SVR_IMU_LSM6DSR 15
#define SVR_IMU_ICM45686 16
#define SVR_IMU_ICM45605 17
#define SVR_IMU_ADC_RESISTANCE 18
#define SVR_IMU_DEV_RESERVED 250

#define SVR_BOARD_UNKNOWN 0
#define SVR_BOARD_SLIMEVR_LEGACY 1
#define SVR_BOARD_SLIMEVR_DEV 2
#define SVR_BOARD_NODEMCU 3
#define SVR_BOARD_CUSTOM 4
#define SVR_BOARD_WROOM32 5
#define SVR_BOARD_WEMOSD1MINI 6
#define SVR_BOARD_TTGO_TBASE 7
#define SVR_BOARD_ESP01 8
#define SVR_BOARD_SLIMEVR 9
#define SVR_BOARD_LOLIN_C3_MINI 10
#define SVR_BOARD_BEETLE32C32 11
#define SVR_BOARD_ES32C3DEVKITM1 12
#define SVR_BOARD_OWOTRACK 13
#define SVR_BOARD_WRANGLER 14
#define SVR_BOARD_MOCOPI 15
#define SVR_BOARD_WEMOSWROOM02 16
#define SVR_BOARD_XIAO_ESP32C3 17
#define SVR_BOARD_HARITORA 18
#define SVR_BOARD_ESP32C6DEVKITC1 19
#define SVR_BOARD_GLOVE_IMU_SLIMEVR_DEV 20
#define SVR_BOARD_GESTURES 21
#define SVR_BOARD_SLIMEVR_V1_2 22
#define SVR_BOARD_ESP32S3_SUPERMINI 23
#define SVR_BOARD_GENERIC_NRF 24
#define SVR_BOARD_SLIMEVR_BUTTERFLY_DEV 25
#define SVR_BOARD_SLIMEVR_BUTTERFLY 26
#define SVR_BOARD_DEV_RESERVED 250

#define SVR_MCU_UNKNOWN 0
#define SVR_MCU_ESP8266 1
#define SVR_MCU_ESP32 2
#define SVR_MCU_OWOTRACK_ANDROID 3
#define SVR_MCU_WRANGLER 4
#define SVR_MCU_OWOTRACK_IOS 5
#define SVR_MCU_ESP32_C3 6
#define SVR_MCU_MOCOPI 7
#define SVR_MCU_HARITORA 8
#define SVR_MCU_NRF52 9
#define SVR_MCU_NRF54L 10
#define SVR_MCU_DEV_RESERVED 250

#define SVR_MAG_STATUS_NOT_SUPPORTED 0
#define SVR_MAG_STATUS_DISABLED 1
#define SVR_MAG_STATUS_ENABLED 2

// https://github.com/SlimeVR/SlimeVR-Server/blob/main/server/core/src/main/java/dev/slimevr/tracking/trackers/TrackerStatus.kt
#define SVR_STATUS_DISCONNECTED 0
#define SVR_STATUS_OK 1
#define SVR_STATUS_BUSY 2
#define SVR_STATUS_ERROR 3
#define SVR_STATUS_OCCLUDED 4
#define SVR_STATUS_TIMED_OUT 5

#if CONFIG_BOARD_SLIMEVRMINI_P1_UF2 || CONFIG_BOARD_SLIMEVRMINI_P2_UF2 || CONFIG_BOARD_SLIMEVRMINI_P3R6_UF2 || CONFIG_BOARD_SLIMEVRMINI_P3R7_UF2 || CONFIG_BOARD_SLIMEVRMINI_P4_UF2 || CONFIG_BOARD_SLIMEVRMINI_P4R9_UF2
#define FW_BOARD SVR_BOARD_SLIMEVR_BUTTERFLY_DEV
#else
#define FW_BOARD SVR_BOARD_GENERIC_NRF
#endif

#if CONFIG_SOC_SERIES_NRF52X
#define FW_MCU SVR_MCU_NRF52
#elif CONFIG_SOC_SERIES_NRF54LX
#define FW_MCU SVR_MCU_NRF54L
#else
#define FW_MCU 0
#endif

static uint8_t get_server_constant_imu_id(int id)
{
	switch (id)
	{
	case IMU_BMI160:
		return SVR_IMU_BMI160;
	case IMU_BMI270:
		return SVR_IMU_BMI270;
	case IMU_BMI323:
		return 0;
	case IMU_MPU6050:
		return SVR_IMU_MPU6050;
	case IMU_MPU6500:
		return SVR_IMU_MPU6500;
	case IMU_MPU9250:
		return SVR_IMU_MPU9250;
	case IMU_ICM20948:
		return SVR_IMU_ICM20948;
	case IMU_ICM42688:
		return SVR_IMU_ICM42688;
	case IMU_ICM45686:
		return SVR_IMU_ICM45686;
	case IMU_ICM45688:
		return SVR_IMU_ICM45686; // compatible with driver, but not really
	case IMU_ISM330IS:
		return 0;
	case IMU_LSM6DS3:
		return 0;
	case IMU_LSM6DSM:
		return SVR_IMU_LSM6DS3TRC;
	case IMU_LSM6DSR:
		return SVR_IMU_LSM6DSR;
	case IMU_LSM6DSO:
		return SVR_IMU_LSM6DSO;
	case IMU_LSM6DST:
		return 0;
	case IMU_LSM6DSV:
		return SVR_IMU_LSM6DSV;
	case IMU_ISM330BX:
		return SVR_IMU_LSM6DSV; // not really
	default:
		return SVR_IMU_UNKNOWN;
	}
}

// does not exist in server enums yet
static uint8_t get_server_constant_mag_id(int id)
{
	return SVR_MAG_STATUS_NOT_SUPPORTED;
//	switch (id)
//	{
//	case MAG_HMC5883L:
//		return 0;
//	case MAG_QMC5883L:
//		return 0;
//	case MAG_AK8963:
//		return 0;
//	case MAG_AK09916:
//		return 0;
//	case MAG_AK09940:
//		return 0;
//	case MAG_BMM150:
//		return 0;
//	case MAG_BMM350:
//		return 0;
//	case MAG_IST8306:
//		return 0;
//	case MAG_IST8308:
//		return 0;
//	case MAG_IST8320:
//		return 0;
//	case MAG_IST8321:
//		return 0;
//	case MAG_LIS2MDL:
//		return 0;
//	case MAG_LIS3MDL:
//		return 0;
//	case MAG_MMC34160PJ:
//		return 0;
//	case MAG_MMC3630KJ:
//		return 0;
//	case MAG_MMC5633NJL:
//		return 0;
//	case MAG_MMC5616WA:
//		return 0;
//	case MAG_MMC5983MA:
//		return 0;
//	default:
//		return 0;
//	}
}

static uint8_t get_server_constant_tracker_status(int status)
{
	if (status & (SYS_STATUS_SENSOR_ERROR | SYS_STATUS_SYSTEM_ERROR))
		return SVR_STATUS_ERROR;
	else
		return SVR_STATUS_OK;
}

// https://stackoverflow.com/questions/11697820/how-to-use-date-and-time-predefined-macros-in-as-two-integers-then-stri
#define COMPUTE_BUILD_YEAR \
	( \
		(__DATE__[ 7] - '0') * 1000 + \
		(__DATE__[ 8] - '0') *  100 + \
		(__DATE__[ 9] - '0') *   10 + \
		(__DATE__[10] - '0') \
	)

#define COMPUTE_BUILD_DAY \
	( \
		((__DATE__[4] >= '0') ? (__DATE__[4] - '0') * 10 : 0) + \
		(__DATE__[5] - '0') \
	)

#define BUILD_MONTH_IS_JAN (__DATE__[0] == 'J' && __DATE__[1] == 'a' && __DATE__[2] == 'n')
#define BUILD_MONTH_IS_FEB (__DATE__[0] == 'F')
#define BUILD_MONTH_IS_MAR (__DATE__[0] == 'M' && __DATE__[1] == 'a' && __DATE__[2] == 'r')
#define BUILD_MONTH_IS_APR (__DATE__[0] == 'A' && __DATE__[1] == 'p')
#define BUILD_MONTH_IS_MAY (__DATE__[0] == 'M' && __DATE__[1] == 'a' && __DATE__[2] == 'y')
#define BUILD_MONTH_IS_JUN (__DATE__[0] == 'J' && __DATE__[1] == 'u' && __DATE__[2] == 'n')
#define BUILD_MONTH_IS_JUL (__DATE__[0] == 'J' && __DATE__[1] == 'u' && __DATE__[2] == 'l')
#define BUILD_MONTH_IS_AUG (__DATE__[0] == 'A' && __DATE__[1] == 'u')
#define BUILD_MONTH_IS_SEP (__DATE__[0] == 'S')
#define BUILD_MONTH_IS_OCT (__DATE__[0] == 'O')
#define BUILD_MONTH_IS_NOV (__DATE__[0] == 'N')
#define BUILD_MONTH_IS_DEC (__DATE__[0] == 'D')

#define COMPUTE_BUILD_MONTH \
	( \
		(BUILD_MONTH_IS_JAN) ?  1 : \
		(BUILD_MONTH_IS_FEB) ?  2 : \
		(BUILD_MONTH_IS_MAR) ?  3 : \
		(BUILD_MONTH_IS_APR) ?  4 : \
		(BUILD_MONTH_IS_MAY) ?  5 : \
		(BUILD_MONTH_IS_JUN) ?  6 : \
		(BUILD_MONTH_IS_JUL) ?  7 : \
		(BUILD_MONTH_IS_AUG) ?  8 : \
		(BUILD_MONTH_IS_SEP) ?  9 : \
		(BUILD_MONTH_IS_OCT) ? 10 : \
		(BUILD_MONTH_IS_NOV) ? 11 : \
		(BUILD_MONTH_IS_DEC) ? 12 : \
		/* error default */  99 \
	)

#define COMPUTE_BUILD_HOUR ((__TIME__[0] - '0') * 10 + __TIME__[1] - '0')
#define COMPUTE_BUILD_MIN  ((__TIME__[3] - '0') * 10 + __TIME__[4] - '0')
#define COMPUTE_BUILD_SEC  ((__TIME__[6] - '0') * 10 + __TIME__[7] - '0')

#define BUILD_DATE_IS_BAD (__DATE__[0] == '?')

#define BUILD_YEAR  ((BUILD_DATE_IS_BAD) ? 99 : COMPUTE_BUILD_YEAR)
#define BUILD_MONTH ((BUILD_DATE_IS_BAD) ? 99 : COMPUTE_BUILD_MONTH)
#define BUILD_DAY   ((BUILD_DATE_IS_BAD) ? 99 : COMPUTE_BUILD_DAY)

#define BUILD_TIME_IS_BAD (__TIME__[0] == '?')

#define BUILD_HOUR  ((BUILD_TIME_IS_BAD) ? 99 :  COMPUTE_BUILD_HOUR)
#define BUILD_MIN   ((BUILD_TIME_IS_BAD) ? 99 :  COMPUTE_BUILD_MIN)
#define BUILD_SEC   ((BUILD_TIME_IS_BAD) ? 99 :  COMPUTE_BUILD_SEC)

#define BUILD_TIMESTAMP (((((((BUILD_YEAR - 2020) & 127) * 12 + (BUILD_MONTH & 15)) * 31 + (BUILD_DAY & 31)) * 24 + (BUILD_HOUR & 24)) * 60 + (BUILD_MIN & 60)) * 60 + (BUILD_SEC & 60))

#define TOSTRING(x) STRINGIFY(x)

#define FW_STRING FW_NAME " " APP_VERSION_EXTENDED_STRING "\n"
```

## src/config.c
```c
#include "globals.h"

#include "config.h"

#include "system/system.h"

#if DT_NODE_HAS_STATUS_OKAY(DT_ALIAS(retainedmemdevice))
#define MEMORY_REGION DT_PARENT(DT_ALIAS(retainedmemdevice))
#else
#error "retained_mem region not defined"
#endif

#define RETAINED_SETTINGS_OFFSET offsetof(struct retained_data, settings)

struct config_settings_data *config_settings = (struct config_settings_data *)(DT_REG_ADDR(MEMORY_REGION) + RETAINED_SETTINGS_OFFSET);

const uint16_t config_settings_count[] = {
    CONFIG_0_SETTINGS_END,
    CONFIG_1_SETTINGS_END,
    CONFIG_2_SETTINGS_END,
    CONFIG_3_SETTINGS_END
};

const char *config_settings_names[] = {
    "user_extra_actions", // 0
    "ignore_reset",
    "user_shutdown",
    "use_imu_wakeup",
    "delay_sleep_on_status",
    "connection_over_hid",
    "sensor_use_low_power_2", // 1
    "use_imu_timeout",
    "use_active_timeout",
    "sensor_use_mag",
    "use_sensor_clock",
    "sensor_use_6_side_calibration",
    "led_default_color_r", // 2
    "led_default_color_g",
    "led_default_color_b",
    "active_timeout_mode",
    "sensor_accel_odr",
    "sensor_gyro_odr",
    "sensor_accel_fs",
    "sensor_gyro_fs",
    "sensor_fusion",
    "radio_tx_power",
    "connection_timeout_delay", // 3
    "sensor_lp_timeout",
    "imu_timeout_ramp_min",
    "imu_timeout_ramp_max",
    "active_timeout_threshold",
    "active_timeout_delay",
};

const bool config_0_settings_defaults[16] = {
    IS_ENABLED(CONFIG_USER_EXTRA_ACTIONS),
    IS_ENABLED(CONFIG_IGNORE_RESET),
    IS_ENABLED(CONFIG_USER_SHUTDOWN),
    IS_ENABLED(CONFIG_USE_IMU_WAKEUP),
    IS_ENABLED(CONFIG_DELAY_SLEEP_ON_STATUS),
    IS_ENABLED(CONFIG_CONNECTION_OVER_HID),
};

const bool config_1_settings_defaults[16] = {
    IS_ENABLED(CONFIG_SENSOR_USE_LOW_POWER_2),
    IS_ENABLED(CONFIG_USE_IMU_TIMEOUT),
    IS_ENABLED(CONFIG_USE_ACTIVE_TIMEOUT),
    IS_ENABLED(CONFIG_SENSOR_USE_MAG),
    IS_ENABLED(CONFIG_USE_SENSOR_CLOCK),
    IS_ENABLED(CONFIG_SENSOR_USE_6_SIDE_CALIBRATION),
};

const int16_t config_2_settings_defaults[16] = {
#ifdef CONFIG_LED_DEFAULT_COLOR_R
    CONFIG_LED_DEFAULT_COLOR_R, // 0-10000
#else
	4000,
#endif
#ifdef CONFIG_LED_DEFAULT_COLOR_G
    CONFIG_LED_DEFAULT_COLOR_G, // 0-10000
#else
	6000,
#endif
#ifdef CONFIG_LED_DEFAULT_COLOR_B
    CONFIG_LED_DEFAULT_COLOR_B, // 0-10000
#else
	0,
#endif
#if CONFIG_SHUTDOWN_ON_ACTIVE_TIMEOUT
    1,
#else // CONFIG_SLEEP_ON_ACTIVE_TIMEOUT
	0,
#endif
    CONFIG_SENSOR_ACCEL_ODR, // 0-3200 (ex.)
    CONFIG_SENSOR_GYRO_ODR, // 0-3200 (ex.)
    CONFIG_SENSOR_ACCEL_FS, // 0-32000 (ex.)
    CONFIG_SENSOR_GYRO_FS, // 0-32000 (ex.)
#if CONFIG_SENSOR_USE_VQF
    3,
#elif CONFIG_SENSOR_USE_NXPSENSORFUSION
	2,
#elif CONFIG_SENSOR_USE_XIOFUSION
	1,
#else
	0,
#endif
    CONFIG_RADIO_TX_POWER, // -128-127
};

const int32_t config_3_settings_defaults[16] = {
#ifdef CONFIG_CONNECTION_TIMEOUT_DELAY
    CONFIG_CONNECTION_TIMEOUT_DELAY,
#else
	300000,
#endif
    CONFIG_SENSOR_LP_TIMEOUT,
#ifdef CONFIG_IMU_TIMEOUT_RAMP_MIN
    CONFIG_IMU_TIMEOUT_RAMP_MIN,
#else
	5000,
#endif
#ifdef CONFIG_IMU_TIMEOUT_RAMP_MAX
    CONFIG_IMU_TIMEOUT_RAMP_MAX,
#else
	15000,
#endif
#ifdef CONFIG_ACTIVE_TIMEOUT_THRESHOLD
    CONFIG_ACTIVE_TIMEOUT_THRESHOLD,
#else
	15000,
#endif
#ifdef CONFIG_ACTIVE_TIMEOUT_DELAY
    CONFIG_ACTIVE_TIMEOUT_DELAY,
#else
	900000,
#endif
};

LOG_MODULE_REGISTER(config, LOG_LEVEL_INF);

/*
bool config_0_settings_read(uint16_t id)
{
    uint16_t read_mask = 1 << id;

    if (config_settings->config_0_ovrd & read_mask)
        return config_settings->config_0_settings & read_mask;

    // Otherwise use default config value
    return config_0_settings_defaults[id];
}

bool config_1_settings_read(uint16_t id)
{
    uint16_t read_mask = 1 << id;

    if (config_settings->config_1_ovrd & read_mask)
        return config_settings->config_1_settings & read_mask;

    // Use default config value
    return config_1_settings_defaults[id];
}

int16_t config_2_settings_read(uint16_t id)
{
    uint16_t read_mask = 1 << id;

    if (config_settings->config_2_ovrd & read_mask)
        return config_settings->config_2_settings[id];

    // Use default config value
    return config_2_settings_defaults[id];
}

int32_t config_3_settings_read(uint16_t id)
{
    uint16_t read_mask = 1 << id;

    if (config_settings->config_3_ovrd & read_mask)
        return config_settings->config_3_settings[id];

    // Use default config value
    return config_3_settings_defaults[id];
}
*/

void config_0_settings_write(uint16_t id, bool value)
{
    uint16_t write_mask = 1 << id;

    config_settings->config_0_ovrd |= write_mask;

    if (value)
        config_settings->config_0_settings |= write_mask;
    else
        config_settings->config_0_settings &= ~write_mask;

    sys_write(SETTINGS_ID, NULL, retained->settings, sizeof(retained->settings));
}

void config_1_settings_write(uint16_t id, bool value)
{
    uint16_t write_mask = 1 << id;

    config_settings->config_1_ovrd |= write_mask;

    if (value)
        config_settings->config_1_settings |= write_mask;
    else
        config_settings->config_1_settings &= ~write_mask;

    sys_write(SETTINGS_ID, NULL, retained->settings, sizeof(retained->settings));
}

void config_2_settings_write(uint16_t id, int16_t value)
{
    uint16_t write_mask = 1 << id;

    config_settings->config_2_ovrd |= write_mask;

    config_settings->config_2_settings[id] = value;

    sys_write(SETTINGS_ID, NULL, retained->settings, sizeof(retained->settings));
}

void config_3_settings_write(uint16_t id, int32_t value)
{
    uint16_t write_mask = 1 << id;

    config_settings->config_3_ovrd |= write_mask;

    config_settings->config_3_settings[id] = value;

    sys_write(SETTINGS_ID, NULL, retained->settings, sizeof(retained->settings));
}

void config_settings_reset(uint16_t config, uint16_t id)
{
    uint16_t write_mask = 1 << id;

    switch (config)
    {
    case 0:
        config_settings->config_0_ovrd &= ~write_mask;
        break;
    case 1:
        config_settings->config_1_ovrd &= ~write_mask;
        break;
    case 2:
        config_settings->config_2_ovrd &= ~write_mask;
        break;
    case 3:
        config_settings->config_3_ovrd &= ~write_mask;
        break;
    default:
    }

    sys_write(SETTINGS_ID, NULL, retained->settings, sizeof(retained->settings));
}

void config_settings_reset_all(void)
{
	static bool reset_confirm = false;
	if (!reset_confirm)
	{
		printk("Resetting device settings will clear all user-defined settings to the firmware defaults. Are you sure?\n");
		reset_confirm = true;
		return;
	}
	printk("Resetting device settings\n");

    config_settings->config_0_ovrd = 0;
    config_settings->config_1_ovrd = 0;
    config_settings->config_2_ovrd = 0;
    config_settings->config_3_ovrd = 0;

    sys_write(SETTINGS_ID, NULL, retained->settings, sizeof(retained->settings));
	reset_confirm = false;
    LOG_INF("Device settings reset");
}
```

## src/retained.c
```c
/*
 * Copyright (c) 2021 Nordic Semiconductor ASA
 *
 * SPDX-License-Identifier: Apache-2.0
 */

#include "retained.h"

#include <stdint.h>
#include <string.h>

#include <zephyr/kernel.h>
#include <zephyr/devicetree.h>
#include <zephyr/drivers/retained_mem.h>
#include <zephyr/sys/byteorder.h>
#include <zephyr/sys/crc.h>

#include "build_defines.h"

#if DT_NODE_HAS_STATUS_OKAY(DT_ALIAS(retainedmemdevice))
#define MEMORY_REGION DT_PARENT(DT_ALIAS(retainedmemdevice))
#else
#error "retained_mem region not defined"
#endif

struct retained_data *retained = (struct retained_data *)DT_REG_ADDR(MEMORY_REGION);

#define RETAINED_CRC_OFFSET offsetof(struct retained_data, crc)
#define RETAINED_CHECKED_SIZE (RETAINED_CRC_OFFSET + sizeof(retained->crc))

static uint64_t init_time;

static int retained_init(void)
{
	init_time = k_uptime_ticks(); // Get current uptime in ticks as soon as possible
	return 0;
}

// TODO: priority?
SYS_INIT(retained_init, APPLICATION, CONFIG_APPLICATION_INIT_PRIORITY);

bool retained_validate(void)
{
	NRF_STATIC_ASSERT((RETAINED_CHECKED_SIZE <= 1024), "Retained data size exceeds 1 KB limit");

	uint64_t now = init_time;
//	uint64_t now = k_uptime_ticks(); // Get current uptime in ticks as soon as possible

	/* The residue of a CRC is what you get from the CRC over the
	 * message catenated with its CRC.  This is the post-final-xor
	 * residue for CRC-32 (CRC-32/ISO-HDLC) which Zephyr calls
	 * crc32_ieee.
	 */
	const uint32_t residue = 0x2144df1c;
	uint32_t crc = crc32_ieee((const uint8_t *)retained,
				  RETAINED_CHECKED_SIZE);
	bool valid = (crc == residue);

	/* Check the build timestamp of the firmware that last updated
	 * the retained data.
	 */
	valid &= (retained->build_timestamp == BUILD_TIMESTAMP);

	/* If the CRC isn't valid or the build timestamp is different
	 * from the current build timestamp, reset the retained data.
	 */
	if (!valid) {
		memset(retained, 0, sizeof(struct retained_data));
		retained->build_timestamp = BUILD_TIMESTAMP;
	}

	/* Reset to accrue runtime from this session. */
	retained->uptime_latest = now;
	retained->battery_uptime_latest = now;

	return valid;
}

void retained_update(void)
{
	uint64_t now = k_uptime_ticks();

	retained->uptime_sum += (now - retained->uptime_latest);
	retained->uptime_latest = now;

	uint32_t crc = crc32_ieee((const uint8_t *)retained,
				  RETAINED_CRC_OFFSET);

	retained->crc = sys_cpu_to_le32(crc);
}
```
